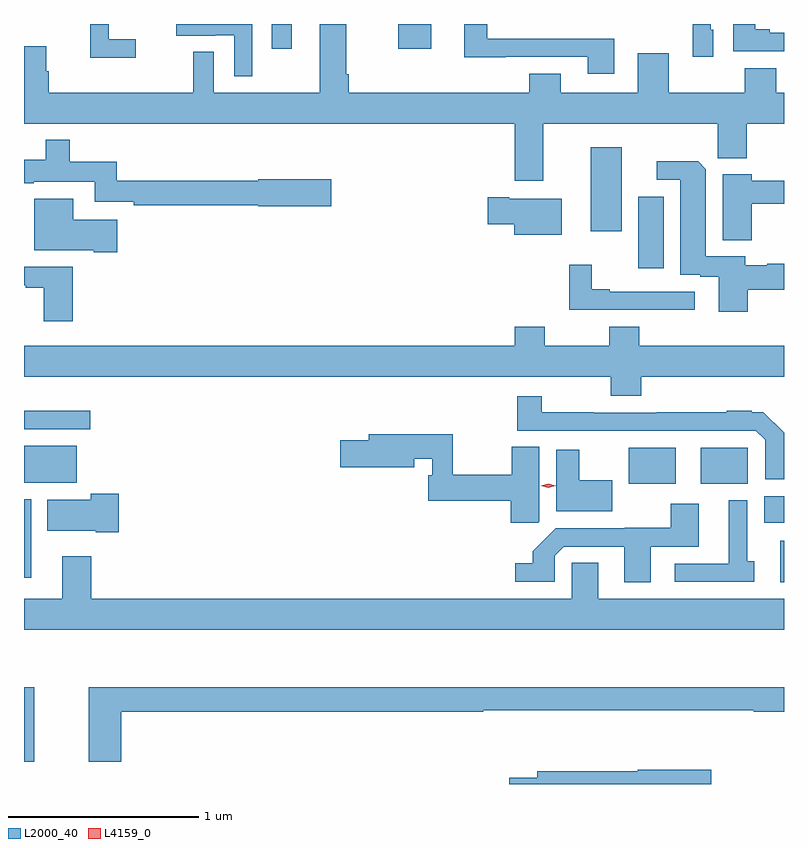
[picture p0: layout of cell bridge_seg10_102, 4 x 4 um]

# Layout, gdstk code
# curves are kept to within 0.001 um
import gdstk
lib = gdstk.Library(unit=1e-6, precision=1e-09)
def R(c, l, rs):  # rectangles x0, y0, x1, y1
    for r in rs: c.add(gdstk.rectangle(r[:2], r[2:], *l))
def P(c, l, *ps):  # polygons
    for p in ps: c.add(gdstk.Polygon(p, *l))
L2000_40 = (2000, 40)
L4159_0 = (4159, 0)

bridge_seg10_102 = lib.new_cell('bridge_seg10_102')
R(bridge_seg10_102, L2000_40, [(479.133,1290.297,479.188,1290.691), (483.113,1291.242,483.133,1291.461), (479.133,1291.266,479.17,1291.681), (483.029,1291.556,483.133,1291.696), (482.315,1291.76,482.563,1291.951), (482.696,1291.76,482.943,1291.951), (479.133,1292.049,479.482,1292.146), (482.366,1292.895,482.5,1293.271), (482.117,1293.09,482.278,1293.532), (480.437,1294.05,480.541,1294.181), (481.103,1294.05,481.276,1294.181)])
P(bridge_seg10_102, L2000_40, [(479.722,1294.102),(479.58,1294.102),(479.58,1294.181),(479.387,1294.181),(479.387,1294.179),(479.482,1294.179),(479.482,1294.004),(479.722,1294.004)],
  [(482.239,1294.104),(481.572,1294.104),(481.572,1294.181),(481.451,1294.181),(481.451,1294.007),(481.669,1294.007),(481.669,1294.008),(482.099,1294.008),(482.099,1293.918),(482.239,1293.918)],
  [(483.133,1294.135),(483.058,1294.135),(483.058,1294.154),(482.981,1294.154),(482.981,1294.181),(482.865,1294.181),(482.865,1294.038),(483.133,1294.038)],
  [(482.761,1294.152),(482.748,1294.152),(482.748,1294.181),(482.652,1294.181),(482.652,1294.008),(482.761,1294.008)],
  [(480.333,1294.181),(479.933,1294.181),(479.933,1294.119),(480.14,1294.119),(480.14,1294.122),(480.24,1294.122),(480.24,1293.905),(480.333,1293.905)],
  [(481.867,1293.656),(482.785,1293.656),(482.785,1293.475),(482.936,1293.475),(482.936,1293.656),(483.133,1293.656),(483.133,1293.82),(483.091,1293.82),(483.091,1293.949),(482.927,1293.949),(482.927,1293.82),(482.527,1293.82),(482.527,1294.027),(482.363,1294.027),(482.363,1293.82),(481.957,1293.82),(481.957,1293.919),(481.793,1293.919),(481.793,1293.82),(480.842,1293.82),(480.842,1293.916),(480.829,1293.916),(480.829,1294.181),(480.689,1294.181),(480.689,1293.82),(480.132,1293.82),(480.132,1294.034),(480.024,1294.034),(480.024,1293.82),(479.264,1293.82),(479.264,1293.933),(479.251,1293.933),(479.251,1294.063),(479.133,1294.063),(479.133,1293.656),(481.715,1293.656),(481.715,1293.357),(481.867,1293.357)],
  [(480.751,1293.363),(480.366,1293.363),(480.366,1293.355),(479.621,1293.355),(479.621,1293.455),(479.375,1293.455),(479.375,1293.571),(479.247,1293.571),(479.247,1293.466),(479.133,1293.466),(479.133,1293.344),(479.184,1293.344),(479.184,1293.35),(479.505,1293.35),(479.505,1293.246),(479.71,1293.246),(479.71,1293.226),(480.366,1293.226),(480.366,1293.221),(480.751,1293.221)],
  [(482.942,1292.782),(483.133,1292.782),(483.133,1292.919),(483.046,1292.919),(483.046,1292.911),(482.929,1292.911),(482.929,1292.958),(482.722,1292.958),(482.722,1293.416),(482.681,1293.458),(482.463,1293.458),(482.463,1293.36),(482.588,1293.36),(482.588,1292.862),(482.693,1292.862),(482.693,1292.85),(482.789,1292.85),(482.789,1292.667),(482.942,1292.667)],
  [(482.963,1293.234),(483.133,1293.234),(483.133,1293.355),(482.963,1293.355),(482.963,1293.39),(482.81,1293.39),(482.81,1293.043),(482.963,1293.043)],
  [(481.963,1293.262),(481.687,1293.262),(481.687,1293.27),(481.575,1293.27),(481.575,1293.128),(481.712,1293.128),(481.712,1293.071),(481.963,1293.071)],
  [(479.623,1293.151),(479.392,1293.151),(479.392,1293.26),(479.186,1293.26),(479.186,1292.99),(479.499,1292.99),(479.499,1292.981),(479.623,1292.981)],
  [(482.662,1292.772),(482.215,1292.772),(482.215,1292.785),(482.121,1292.785),(482.121,1292.914),(482.002,1292.914),(482.002,1292.676),(482.662,1292.676)],
  [(479.39,1292.903),(479.133,1292.903),(479.133,1292.805),(479.141,1292.805),(479.141,1292.793),(479.237,1292.793),(479.237,1292.616),(479.39,1292.616)],
  [(482.381,1292.324),(483.133,1292.324),(483.133,1292.488),(482.372,1292.488),(482.372,1292.587),(482.212,1292.587),(482.212,1292.488),(481.875,1292.488),(481.875,1292.587),(481.715,1292.587),(481.715,1292.488),(479.133,1292.488),(479.133,1292.324),(482.221,1292.324),(482.221,1292.225),(482.381,1292.225)],
  [(483.133,1292.03),(483.025,1292.138),(482.964,1292.138),(482.964,1292.146),(482.832,1292.146),(482.832,1292.138),(482.464,1292.138),(482.464,1292.136),(482.132,1292.136),(482.132,1292.138),(481.858,1292.138),(481.858,1292.221),(481.729,1292.221),(481.729,1292.04),(482.985,1292.04),(483.033,1291.992),(483.033,1291.785),(483.133,1291.785)],
  [(481.845,1291.56),(481.846,1291.955),(481.699,1291.955),(481.699,1291.808),(481.39,1291.808),(481.39,1292.023),(480.947,1292.023),(480.947,1291.989),(480.798,1291.989),(480.798,1291.847),(481.186,1291.847),(481.186,1291.894),(481.281,1291.894),(481.281,1291.806),(481.261,1291.806),(481.261,1291.672),(481.694,1291.672),(481.694,1291.556),(481.84,1291.556)],
  [(479.41,1291.96),(479.133,1291.96),(479.133,1291.767),(479.166,1291.767),(479.166,1291.766),(479.41,1291.766)],
  [(482.23,1291.78),(482.056,1291.78),(482.056,1291.939),(481.934,1291.939),(481.934,1291.616),(482.23,1291.616)],
  [(479.632,1291.708),(479.485,1291.708),(479.485,1291.678),(479.255,1291.678),(479.255,1291.514),(479.51,1291.514),(479.51,1291.507),(479.632,1291.507)],
  [(482.977,1291.354),(482.94,1291.354),(482.94,1291.675),(482.843,1291.675),(482.843,1291.341),(482.559,1291.341),(482.559,1291.245),(482.977,1291.245)],
  [(482.431,1291.431),(482.683,1291.431),(482.683,1291.657),(482.536,1291.657),(482.536,1291.53),(482.295,1291.53),(482.295,1291.527),(481.932,1291.527),(481.81,1291.405),(481.81,1291.343),(481.719,1291.343),(481.719,1291.245),(481.926,1291.245),(481.926,1291.383),(481.974,1291.431),(482.291,1291.431),(482.291,1291.242),(482.431,1291.242)],
  [(483.133,1291.156),(482.155,1291.156),(482.155,1291.346),(482.016,1291.346),(482.016,1291.156),(479.486,1291.156),(479.486,1291.381),(479.333,1291.381),(479.333,1291.156),(479.133,1291.156),(479.133,1290.992),(483.133,1290.992)],
  [(479.645,1290.562),(481.551,1290.562),(481.551,1290.57),(482.974,1290.57),(482.974,1290.562),(483.133,1290.562),(483.133,1290.691),(479.474,1290.691),(479.474,1290.297),(479.645,1290.297)],
  [(482.749,1290.255),(482.364,1290.255),(482.364,1290.247),(481.835,1290.247),(481.835,1290.213),(481.686,1290.213),(481.686,1290.181),(482.749,1290.181)])
P(bridge_seg10_102, L4159_0, [(481.891,1291.741),(481.852,1291.751),(481.851,1291.751),(481.852,1291.751),(481.891,1291.761),(481.931,1291.75),(481.931,1291.75),(481.931,1291.75)])

lib.write_gds('bridge_seg10_102.gds')
